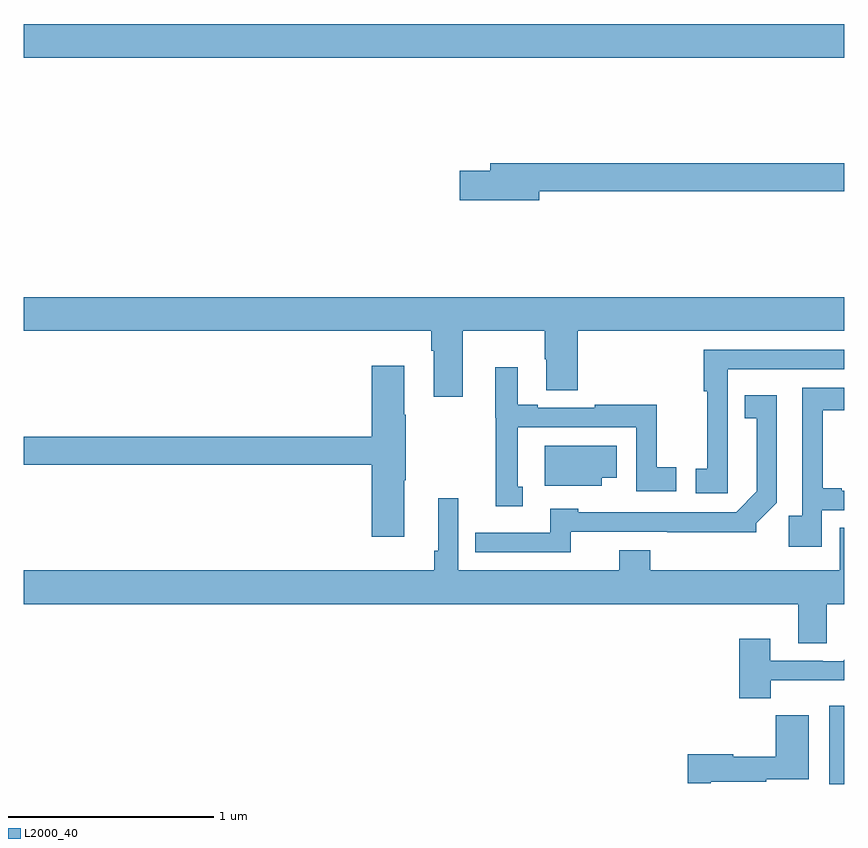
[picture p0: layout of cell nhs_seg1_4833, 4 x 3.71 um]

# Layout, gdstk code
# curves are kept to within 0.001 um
import gdstk
lib = gdstk.Library(unit=1e-6, precision=1e-09)
def R(c, l, rs):  # rectangles x0, y0, x1, y1
    for r in rs: c.add(gdstk.rectangle(r[:2], r[2:], *l))
def P(c, l, *ps):  # polygons
    for p in ps: c.add(gdstk.Polygon(p, *l))
L2000_40 = (2000, 40)

nhs_seg1_4833 = lib.new_cell('nhs_seg1_4833')
R(nhs_seg1_4833, L2000_40, [(376.928,540.199,377,540.58), (373,543.74,377,543.904)])
P(nhs_seg1_4833, L2000_40, [(375.514,543.088),(377,543.088),(377,543.224),(375.275,543.224),(375.275,543.188),(375.126,543.188),(375.126,543.046),(375.514,543.046)],
  [(375.139,542.408),(375.541,542.408),(375.541,542.27),(375.548,542.27),(375.548,542.119),(375.701,542.119),(375.701,542.408),(377,542.408),(377,542.572),(373,542.572),(373,542.408),(374.987,542.408),(374.987,542.312),(374.999,542.312),(374.999,542.088),(375.139,542.088)],
  [(376.432,541.892),(376.431,541.892),(376.431,542.22),(377,542.22),(377,542.316),(376.315,542.316),(376.315,542.113),(376.333,542.113),(376.333,541.737),(376.275,541.737),(376.275,541.617),(376.432,541.617)],
  [(374.854,541.679),(374.862,541.679),(374.862,542),(374.854,542),(374.854,542.239),(374.696,542.239),(374.696,541.892),(373,541.892),(373,541.756),(374.696,541.756),(374.696,541.404),(374.854,541.404)],
  [(375.433,541.647),(375.409,541.647),(375.409,541.938),(375.987,541.938),(375.987,541.626),(376.18,541.626),(376.18,541.742),(376.086,541.742),(376.086,542.047),(375.784,542.047),(375.784,542.034),(375.505,542.034),(375.505,542.047),(375.409,542.047),(375.409,542.23),(375.299,542.23),(375.299,541.985),(375.3,541.985),(375.3,541.553),(375.433,541.553)],
  [(376.89,541.533),(377,541.533),(377,541.629),(376.987,541.629),(376.987,541.642),(376.895,541.642),(376.895,542.022),(377,542.022),(377,542.13),(376.794,542.13),(376.794,541.507),(376.729,541.507),(376.729,541.356),(376.89,541.356)],
  [(375.666,541.428),(376.572,541.427),(376.572,541.471),(376.671,541.57),(376.671,542.095),(376.516,542.095),(376.516,541.982),(376.574,541.982),(376.574,541.625),(376.473,541.524),(375.702,541.524),(375.702,541.54),(375.566,541.54),(375.566,541.425),(375.202,541.425),(375.202,541.329),(375.666,541.329)],
  [(375.817,541.691),(375.892,541.691),(375.892,541.849),(375.539,541.849),(375.539,541.652),(375.817,541.652)],
  [(376.915,541.076),(377,541.076),(377,541.448),(376.979,541.448),(376.979,541.24),(376.055,541.24),(376.055,541.339),(375.902,541.339),(375.902,541.24),(375.117,541.24),(375.117,541.591),(375.02,541.591),(375.02,541.336),(375.001,541.336),(375.001,541.24),(373,541.24),(373,541.076),(376.775,541.076),(376.775,540.886),(376.915,540.886)],
  [(376.642,540.704),(377,540.704),(377,540.804),(376.994,540.798),(376.895,540.798),(376.895,540.801),(376.639,540.801),(376.639,540.907),(376.487,540.907),(376.487,540.617),(376.642,540.617)],
  [(376.348,540.209),(376.62,540.209),(376.62,540.221),(376.828,540.221),(376.828,540.535),(376.666,540.535),(376.666,540.331),(376.458,540.331),(376.458,540.344),(376.236,540.344),(376.236,540.202),(376.348,540.202)])

lib.write_gds('nhs_seg1_4833.gds')
